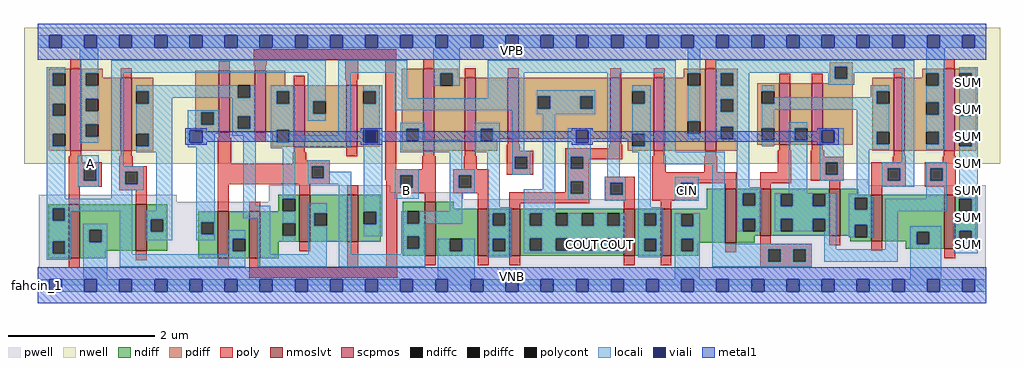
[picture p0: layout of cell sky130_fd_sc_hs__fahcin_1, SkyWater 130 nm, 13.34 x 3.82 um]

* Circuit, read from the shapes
.subckt sky130_fd_sc_hs__fahcin_1 A B CIN VGND VNB VPB VPWR COUT SUM
XM1 VGND A n1 VNB sky130_fd_pr__nfet_01v8_lvt w=0.74 l=0.15
XM2 n2 n1 VGND VNB sky130_fd_pr__nfet_01v8_lvt w=0.64 l=0.15
XM3 n1 n3 n4 VNB sky130_fd_pr__nfet_01v8_lvt w=0.64 l=0.15
XM4 n5 B n1 VNB sky130_fd_pr__nfet_01v8_lvt w=0.64 l=0.15
XM5 n2 n3 n5 VNB sky130_fd_pr__nfet_01v8_lvt w=0.64 l=0.15
XM6 n4 B n2 VNB sky130_fd_pr__nfet_01v8_lvt w=0.64 l=0.15
XM7 VGND B n3 VNB sky130_fd_pr__nfet_01v8_lvt w=0.74 l=0.15
XM8 n6 n3 VGND VNB sky130_fd_pr__nfet_01v8_lvt w=0.64 l=0.15
XM9 COUT n4 n6 VNB sky130_fd_pr__nfet_01v8_lvt w=0.64 l=0.15
XM10 n7 n5 COUT VNB sky130_fd_pr__nfet_01v8_lvt w=0.64 l=0.15
XM11 VGND CIN n7 VNB sky130_fd_pr__nfet_01v8_lvt w=0.64 l=0.15
XM12 n8 CIN VGND VNB sky130_fd_pr__nfet_01v8_lvt w=0.74 l=0.15
XM13 n9 n5 n8 VNB sky130_fd_pr__nfet_01v8_lvt w=0.64 l=0.15
XM14 n10 n4 n9 VNB sky130_fd_pr__nfet_01v8_lvt w=0.64 l=0.15
XM15 VGND n8 n10 VNB sky130_fd_pr__nfet_01v8_lvt w=0.64 l=0.15
XM16 SUM n9 VGND VNB sky130_fd_pr__nfet_01v8_lvt w=0.74 l=0.15
XM17 VPWR A n1 VPB sky130_fd_pr__pfet_01v8 w=1.12 l=0.15
XM18 n2 n1 VPWR VPB sky130_fd_pr__pfet_01v8 w=1 l=0.15
XM19 n2 n3 n4 VPB sky130_fd_pr__pfet_01v8 w=0.84 l=0.15
XM20 n5 B n2 VPB sky130_fd_pr__pfet_01v8 w=0.84 l=0.15
XM21 n1 n3 n5 VPB sky130_fd_pr__pfet_01v8 w=0.84 l=0.15
XM22 n4 B n1 VPB sky130_fd_pr__pfet_01v8 w=0.84 l=0.15
XM23 VPWR B n3 VPB sky130_fd_pr__pfet_01v8 w=1.12 l=0.15
XM24 n6 n3 VPWR VPB sky130_fd_pr__pfet_01v8 w=1 l=0.15
XM25 COUT n5 n6 VPB sky130_fd_pr__pfet_01v8 w=0.84 l=0.15
XM26 n7 n4 COUT VPB sky130_fd_pr__pfet_01v8 w=0.84 l=0.15
XM27 VPWR CIN n7 VPB sky130_fd_pr__pfet_01v8 w=1 l=0.15
XM28 n8 CIN VPWR VPB sky130_fd_pr__pfet_01v8 w=1.12 l=0.15
XM29 n9 n5 n10 VPB sky130_fd_pr__pfet_01v8 w=0.84 l=0.15
XM30 n8 n4 n9 VPB sky130_fd_pr__pfet_01v8 w=0.84 l=0.15
XM31 VPWR n8 n10 VPB sky130_fd_pr__pfet_01v8 w=1 l=0.15
XM32 SUM n9 VPWR VPB sky130_fd_pr__pfet_01v8 w=1.12 l=0.15
.ends

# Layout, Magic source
magic
tech sky130A
magscale 1 2
<< nwell >>
rect -38 332 2630 704
<< pwell >>
rect 1803 274 2269 290
rect 631 255 963 273
rect 2 228 380 248
rect 631 235 1163 255
rect 1803 235 2591 274
rect 631 228 2591 235
rect 2 49 2591 228
rect 0 0 2592 49
<< scpmos >>
rect 88 368 118 592
rect 226 368 256 568
rect 495 418 525 586
rect 593 418 623 586
rect 700 379 730 547
rect 843 379 873 547
rect 1054 368 1084 592
rect 1167 368 1197 568
rect 1284 400 1314 568
rect 1565 400 1595 568
rect 1683 368 1713 568
rect 1824 368 1854 592
rect 2026 384 2056 552
rect 2116 384 2146 552
rect 2340 368 2370 568
rect 2476 368 2506 592
<< nmoslvt >>
rect 85 74 115 222
rect 267 94 297 222
rect 492 74 522 202
rect 578 74 608 202
rect 714 119 744 247
rect 846 119 876 247
rect 1057 81 1087 229
rect 1203 81 1233 209
rect 1289 81 1319 209
rect 1602 81 1632 209
rect 1702 81 1732 209
rect 1879 116 1909 264
rect 1974 136 2004 264
rect 2163 136 2193 264
rect 2278 120 2308 248
rect 2478 100 2508 248
<< ndiff >>
rect 28 210 85 222
rect 28 176 40 210
rect 74 176 85 210
rect 28 120 85 176
rect 28 86 40 120
rect 74 86 85 120
rect 28 74 85 86
rect 115 152 267 222
rect 115 118 140 152
rect 174 118 267 152
rect 115 94 267 118
rect 297 180 354 222
rect 657 237 714 247
rect 657 203 669 237
rect 703 203 714 237
rect 657 202 714 203
rect 297 146 308 180
rect 342 146 354 180
rect 297 94 354 146
rect 439 173 492 202
rect 439 139 447 173
rect 481 139 492 173
rect 115 74 186 94
rect 439 74 492 139
rect 522 127 578 202
rect 522 93 533 127
rect 567 93 578 127
rect 522 74 578 93
rect 608 169 714 202
rect 608 135 669 169
rect 703 135 714 169
rect 608 119 714 135
rect 744 197 846 247
rect 744 163 755 197
rect 789 163 846 197
rect 744 119 846 163
rect 876 201 937 247
rect 876 167 891 201
rect 925 167 937 201
rect 876 119 937 167
rect 608 74 658 119
rect 997 202 1057 229
rect 997 168 1009 202
rect 1043 168 1057 202
rect 997 134 1057 168
rect 997 100 1009 134
rect 1043 100 1057 134
rect 997 81 1057 100
rect 1087 209 1137 229
rect 1829 209 1879 264
rect 1087 127 1203 209
rect 1087 93 1126 127
rect 1160 93 1203 127
rect 1087 81 1203 93
rect 1233 197 1289 209
rect 1233 163 1244 197
rect 1278 163 1289 197
rect 1233 127 1289 163
rect 1233 93 1244 127
rect 1278 93 1289 127
rect 1233 81 1289 93
rect 1319 197 1602 209
rect 1319 163 1344 197
rect 1378 163 1415 197
rect 1449 163 1486 197
rect 1520 163 1557 197
rect 1591 163 1602 197
rect 1319 129 1602 163
rect 1319 95 1344 129
rect 1378 95 1415 129
rect 1449 95 1486 129
rect 1520 95 1557 129
rect 1591 95 1602 129
rect 1319 81 1602 95
rect 1632 197 1702 209
rect 1632 163 1657 197
rect 1691 163 1702 197
rect 1632 127 1702 163
rect 1632 93 1657 127
rect 1691 93 1702 127
rect 1632 81 1702 93
rect 1732 195 1879 209
rect 1732 161 1758 195
rect 1792 161 1879 195
rect 1732 127 1879 161
rect 1732 93 1758 127
rect 1792 116 1879 127
rect 1909 252 1974 264
rect 1909 218 1927 252
rect 1961 218 1974 252
rect 1909 182 1974 218
rect 1909 148 1927 182
rect 1961 148 1974 182
rect 1909 136 1974 148
rect 2004 250 2163 264
rect 2004 216 2030 250
rect 2064 216 2118 250
rect 2152 216 2163 250
rect 2004 182 2163 216
rect 2004 148 2030 182
rect 2064 148 2118 182
rect 2152 148 2163 182
rect 2004 136 2163 148
rect 2193 248 2243 264
rect 2193 240 2278 248
rect 2193 206 2233 240
rect 2267 206 2278 240
rect 2193 166 2278 206
rect 2193 136 2233 166
rect 1909 116 1959 136
rect 1792 93 1805 116
rect 1732 81 1805 93
rect 2221 132 2233 136
rect 2267 132 2278 166
rect 2221 120 2278 132
rect 2308 146 2478 248
rect 2308 120 2402 146
rect 2373 112 2402 120
rect 2436 112 2478 146
rect 2373 100 2478 112
rect 2508 236 2565 248
rect 2508 202 2519 236
rect 2553 202 2565 236
rect 2508 149 2565 202
rect 2508 115 2519 149
rect 2553 115 2565 149
rect 2508 100 2565 115
<< pdiff >>
rect 29 580 88 592
rect 29 546 41 580
rect 75 546 88 580
rect 29 497 88 546
rect 29 463 41 497
rect 75 463 88 497
rect 29 414 88 463
rect 29 380 41 414
rect 75 380 88 414
rect 29 368 88 380
rect 118 580 177 592
rect 118 546 131 580
rect 165 568 177 580
rect 165 546 226 568
rect 118 510 226 546
rect 118 476 131 510
rect 165 476 226 510
rect 118 440 226 476
rect 118 406 131 440
rect 165 406 226 440
rect 118 368 226 406
rect 256 531 315 568
rect 256 497 269 531
rect 303 497 315 531
rect 256 414 315 497
rect 430 473 495 586
rect 430 439 447 473
rect 481 439 495 473
rect 430 418 495 439
rect 525 547 593 586
rect 525 513 546 547
rect 580 513 593 547
rect 525 462 593 513
rect 525 428 546 462
rect 580 428 593 462
rect 525 418 593 428
rect 623 547 676 586
rect 623 531 700 547
rect 623 497 653 531
rect 687 497 700 531
rect 623 425 700 497
rect 623 418 653 425
rect 256 380 269 414
rect 303 380 315 414
rect 256 368 315 380
rect 641 391 653 418
rect 687 391 700 425
rect 641 379 700 391
rect 730 503 843 547
rect 730 469 753 503
rect 787 469 843 503
rect 730 379 843 469
rect 873 531 935 547
rect 873 497 889 531
rect 923 497 935 531
rect 873 425 935 497
rect 873 391 889 425
rect 923 391 935 425
rect 873 379 935 391
rect 995 428 1054 592
rect 995 394 1007 428
rect 1041 394 1054 428
rect 995 368 1054 394
rect 1084 580 1149 592
rect 1084 546 1100 580
rect 1134 568 1149 580
rect 2164 598 2227 610
rect 1765 580 1824 592
rect 1765 568 1777 580
rect 1134 546 1167 568
rect 1084 368 1167 546
rect 1197 428 1284 568
rect 1197 394 1210 428
rect 1244 400 1284 428
rect 1314 517 1565 568
rect 1314 483 1367 517
rect 1401 483 1483 517
rect 1517 483 1565 517
rect 1314 400 1565 483
rect 1595 531 1683 568
rect 1595 497 1625 531
rect 1659 497 1683 531
rect 1595 414 1683 497
rect 1595 400 1625 414
rect 1244 394 1256 400
rect 1197 368 1256 394
rect 1613 380 1625 400
rect 1659 380 1683 414
rect 1613 368 1683 380
rect 1713 546 1777 568
rect 1811 546 1824 580
rect 1713 449 1824 546
rect 1713 415 1777 449
rect 1811 415 1824 449
rect 1713 368 1824 415
rect 1854 580 1913 592
rect 1854 546 1867 580
rect 1901 546 1913 580
rect 2164 564 2178 598
rect 2212 564 2227 598
rect 2417 580 2476 592
rect 2417 568 2429 580
rect 2164 552 2227 564
rect 1854 508 1913 546
rect 1854 474 1867 508
rect 1901 474 1913 508
rect 1854 433 1913 474
rect 1854 399 1867 433
rect 1901 399 1913 433
rect 1854 368 1913 399
rect 1967 531 2026 552
rect 1967 497 1979 531
rect 2013 497 2026 531
rect 1967 430 2026 497
rect 1967 396 1979 430
rect 2013 396 2026 430
rect 1967 384 2026 396
rect 2056 430 2116 552
rect 2056 396 2069 430
rect 2103 396 2116 430
rect 2056 384 2116 396
rect 2146 384 2227 552
rect 2281 531 2340 568
rect 2281 497 2293 531
rect 2327 497 2340 531
rect 2281 420 2340 497
rect 2281 386 2293 420
rect 2327 386 2340 420
rect 2281 368 2340 386
rect 2370 546 2429 568
rect 2463 546 2476 580
rect 2370 500 2476 546
rect 2370 466 2429 500
rect 2463 466 2476 500
rect 2370 420 2476 466
rect 2370 386 2429 420
rect 2463 386 2476 420
rect 2370 368 2476 386
rect 2506 580 2565 592
rect 2506 546 2519 580
rect 2553 546 2565 580
rect 2506 497 2565 546
rect 2506 463 2519 497
rect 2553 463 2565 497
rect 2506 414 2565 463
rect 2506 380 2519 414
rect 2553 380 2565 414
rect 2506 368 2565 380
<< ndiffc >>
rect 40 176 74 210
rect 40 86 74 120
rect 140 118 174 152
rect 669 203 703 237
rect 308 146 342 180
rect 447 139 481 173
rect 533 93 567 127
rect 669 135 703 169
rect 755 163 789 197
rect 891 167 925 201
rect 1009 168 1043 202
rect 1009 100 1043 134
rect 1126 93 1160 127
rect 1244 163 1278 197
rect 1244 93 1278 127
rect 1344 163 1378 197
rect 1415 163 1449 197
rect 1486 163 1520 197
rect 1557 163 1591 197
rect 1344 95 1378 129
rect 1415 95 1449 129
rect 1486 95 1520 129
rect 1557 95 1591 129
rect 1657 163 1691 197
rect 1657 93 1691 127
rect 1758 161 1792 195
rect 1758 93 1792 127
rect 1927 218 1961 252
rect 1927 148 1961 182
rect 2030 216 2064 250
rect 2118 216 2152 250
rect 2030 148 2064 182
rect 2118 148 2152 182
rect 2233 206 2267 240
rect 2233 132 2267 166
rect 2402 112 2436 146
rect 2519 202 2553 236
rect 2519 115 2553 149
<< pdiffc >>
rect 41 546 75 580
rect 41 463 75 497
rect 41 380 75 414
rect 131 546 165 580
rect 131 476 165 510
rect 131 406 165 440
rect 269 497 303 531
rect 447 439 481 473
rect 546 513 580 547
rect 546 428 580 462
rect 653 497 687 531
rect 269 380 303 414
rect 653 391 687 425
rect 753 469 787 503
rect 889 497 923 531
rect 889 391 923 425
rect 1007 394 1041 428
rect 1100 546 1134 580
rect 1210 394 1244 428
rect 1367 483 1401 517
rect 1483 483 1517 517
rect 1625 497 1659 531
rect 1625 380 1659 414
rect 1777 546 1811 580
rect 1777 415 1811 449
rect 1867 546 1901 580
rect 2178 564 2212 598
rect 1867 474 1901 508
rect 1867 399 1901 433
rect 1979 497 2013 531
rect 1979 396 2013 430
rect 2069 396 2103 430
rect 2293 497 2327 531
rect 2293 386 2327 420
rect 2429 546 2463 580
rect 2429 466 2463 500
rect 2429 386 2463 420
rect 2519 546 2553 580
rect 2519 463 2553 497
rect 2519 380 2553 414
<< poly >>
rect 88 592 118 618
rect 590 615 980 645
rect 226 568 256 594
rect 495 586 525 612
rect 590 601 626 615
rect 593 586 623 601
rect 700 547 730 573
rect 840 562 876 615
rect 843 547 873 562
rect 495 403 525 418
rect 88 353 118 368
rect 226 353 256 368
rect 85 336 121 353
rect 85 320 175 336
rect 85 286 125 320
rect 159 286 175 320
rect 85 270 175 286
rect 223 326 259 353
rect 492 333 528 403
rect 593 392 623 418
rect 700 364 730 379
rect 697 342 733 364
rect 843 353 873 379
rect 697 333 798 342
rect 492 326 798 333
rect 223 310 297 326
rect 223 276 239 310
rect 273 276 297 310
rect 85 222 115 270
rect 223 260 297 276
rect 267 222 297 260
rect 492 292 748 326
rect 782 292 798 326
rect 492 276 798 292
rect 950 317 980 615
rect 1054 592 1084 618
rect 1167 568 1197 594
rect 1284 568 1314 594
rect 1565 568 1595 594
rect 1683 568 1713 594
rect 1824 592 1854 618
rect 1284 385 1314 400
rect 1565 385 1595 400
rect 1281 368 1317 385
rect 1562 375 1598 385
rect 1054 353 1084 368
rect 1167 353 1197 368
rect 1051 317 1087 353
rect 1164 317 1200 353
rect 1281 352 1354 368
rect 1281 318 1304 352
rect 1338 318 1354 352
rect 950 301 1087 317
rect 950 287 991 301
rect 492 202 522 276
rect 714 247 744 276
rect 846 247 876 273
rect 952 267 991 287
rect 1025 267 1087 301
rect 952 251 1087 267
rect 1135 301 1233 317
rect 1281 302 1354 318
rect 1441 352 1598 375
rect 2026 552 2056 578
rect 2116 552 2146 578
rect 2340 568 2370 594
rect 2476 592 2506 618
rect 2026 369 2056 384
rect 2116 369 2146 384
rect 1683 353 1713 368
rect 1824 353 1854 368
rect 1441 318 1457 352
rect 1491 345 1598 352
rect 1491 318 1507 345
rect 1135 267 1151 301
rect 1185 267 1233 301
rect 1135 251 1233 267
rect 1441 284 1507 318
rect 1680 309 1716 353
rect 1821 309 1857 353
rect 2023 309 2059 369
rect 1441 254 1457 284
rect 578 202 608 228
rect 85 48 115 74
rect 267 68 297 94
rect 714 93 744 119
rect 492 48 522 74
rect 578 51 608 74
rect 846 51 876 119
rect 952 51 982 251
rect 1057 229 1087 251
rect 1203 209 1233 251
rect 1289 250 1457 254
rect 1491 250 1507 284
rect 1289 224 1507 250
rect 1549 281 1632 297
rect 1549 247 1565 281
rect 1599 247 1632 281
rect 1549 231 1632 247
rect 1680 281 1909 309
rect 1680 247 1757 281
rect 1791 279 1909 281
rect 1791 247 1807 279
rect 1879 264 1909 279
rect 1974 279 2059 309
rect 2113 352 2149 369
rect 2340 353 2370 368
rect 2476 353 2506 368
rect 2113 336 2203 352
rect 2337 336 2373 353
rect 2473 336 2509 353
rect 2113 302 2153 336
rect 2187 302 2203 336
rect 2113 286 2203 302
rect 2278 320 2373 336
rect 2278 286 2323 320
rect 2357 286 2373 320
rect 1974 264 2004 279
rect 2163 264 2193 286
rect 2278 270 2373 286
rect 2424 320 2509 336
rect 2424 286 2440 320
rect 2474 286 2509 320
rect 2424 270 2509 286
rect 1680 231 1807 247
rect 1289 209 1319 224
rect 1602 209 1632 231
rect 1702 209 1732 231
rect 2278 248 2308 270
rect 2478 248 2508 270
rect 1879 90 1909 116
rect 1974 114 2004 136
rect 1974 98 2115 114
rect 2163 110 2193 136
rect 1057 55 1087 81
rect 1203 55 1233 81
rect 1289 55 1319 81
rect 1602 55 1632 81
rect 1702 55 1732 81
rect 1974 64 1997 98
rect 2031 64 2065 98
rect 2099 64 2115 98
rect 2278 94 2308 120
rect 2478 74 2508 100
rect 578 21 982 51
rect 1974 48 2115 64
<< polycont >>
rect 125 286 159 320
rect 239 276 273 310
rect 748 292 782 326
rect 1304 318 1338 352
rect 991 267 1025 301
rect 1457 318 1491 352
rect 1151 267 1185 301
rect 1457 250 1491 284
rect 1565 247 1599 281
rect 1757 247 1791 281
rect 2153 302 2187 336
rect 2323 286 2357 320
rect 2440 286 2474 320
rect 1997 64 2031 98
rect 2065 64 2099 98
<< locali >>
rect 0 649 31 683
rect 65 649 127 683
rect 161 649 223 683
rect 257 649 319 683
rect 353 649 415 683
rect 449 649 511 683
rect 545 649 607 683
rect 641 649 703 683
rect 737 649 799 683
rect 833 649 895 683
rect 929 649 991 683
rect 1025 649 1087 683
rect 1121 649 1183 683
rect 1217 649 1279 683
rect 1313 649 1375 683
rect 1409 649 1471 683
rect 1505 649 1567 683
rect 1601 649 1663 683
rect 1697 649 1759 683
rect 1793 649 1855 683
rect 1889 649 1951 683
rect 1985 649 2047 683
rect 2081 649 2143 683
rect 2177 649 2239 683
rect 2273 649 2335 683
rect 2369 649 2431 683
rect 2465 649 2527 683
rect 2561 649 2592 683
rect 24 580 75 596
rect 24 546 41 580
rect 24 497 75 546
rect 24 463 41 497
rect 24 414 75 463
rect 24 380 41 414
rect 115 580 165 649
rect 115 546 131 580
rect 115 510 165 546
rect 115 476 131 510
rect 115 440 165 476
rect 115 406 131 440
rect 115 390 165 406
rect 201 581 787 615
rect 24 236 75 380
rect 109 320 167 356
rect 109 286 125 320
rect 159 286 167 320
rect 109 270 167 286
rect 201 326 235 581
rect 269 531 546 547
rect 303 513 546 531
rect 580 513 596 547
rect 303 497 367 513
rect 269 414 367 497
rect 303 380 367 414
rect 269 364 367 380
rect 409 473 497 479
rect 409 439 447 473
rect 481 439 497 473
rect 409 424 497 439
rect 409 390 415 424
rect 449 414 497 424
rect 531 462 596 513
rect 531 428 546 462
rect 580 428 596 462
rect 449 390 483 414
rect 531 409 596 428
rect 409 378 483 390
rect 201 310 289 326
rect 201 276 239 310
rect 273 276 289 310
rect 201 260 289 276
rect 201 236 258 260
rect 24 210 258 236
rect 24 176 40 210
rect 74 202 258 210
rect 323 204 367 364
rect 74 176 90 202
rect 24 120 90 176
rect 24 86 40 120
rect 74 86 90 120
rect 24 70 90 86
rect 124 152 190 168
rect 124 118 140 152
rect 174 118 190 152
rect 124 17 190 118
rect 224 85 258 202
rect 295 180 367 204
rect 295 146 308 180
rect 342 146 367 180
rect 295 123 367 146
rect 433 173 483 378
rect 562 218 596 409
rect 637 531 703 547
rect 637 497 653 531
rect 687 497 703 531
rect 637 425 703 497
rect 737 503 787 581
rect 737 469 753 503
rect 737 450 787 469
rect 821 581 1009 615
rect 637 391 653 425
rect 687 410 703 425
rect 821 410 855 581
rect 687 391 855 410
rect 637 376 855 391
rect 889 531 941 547
rect 923 497 941 531
rect 889 425 941 497
rect 975 512 1009 581
rect 1081 580 1153 649
rect 1081 546 1100 580
rect 1134 546 1153 580
rect 1230 581 1743 615
rect 1230 512 1330 581
rect 975 478 1330 512
rect 923 424 941 425
rect 889 390 895 391
rect 929 390 941 424
rect 637 375 703 376
rect 889 375 941 390
rect 669 237 703 375
rect 737 326 798 342
rect 737 292 748 326
rect 782 310 798 326
rect 782 292 857 310
rect 737 276 857 292
rect 562 184 635 218
rect 433 139 447 173
rect 481 139 483 173
rect 433 123 483 139
rect 517 127 567 150
rect 517 93 533 127
rect 517 85 567 93
rect 224 51 567 85
rect 601 85 635 184
rect 669 169 703 203
rect 669 119 703 135
rect 739 197 789 225
rect 739 163 755 197
rect 739 85 789 163
rect 601 51 789 85
rect 823 85 857 276
rect 891 201 941 375
rect 991 428 1057 444
rect 991 394 1007 428
rect 1041 398 1057 428
rect 1194 428 1262 444
rect 1041 394 1160 398
rect 991 364 1160 394
rect 1194 394 1210 428
rect 1244 394 1262 428
rect 1194 364 1262 394
rect 1126 317 1160 364
rect 975 301 1041 317
rect 975 267 991 301
rect 1025 267 1041 301
rect 975 236 1041 267
rect 1126 301 1194 317
rect 1126 267 1151 301
rect 1185 267 1194 301
rect 1126 251 1194 267
rect 1126 202 1160 251
rect 925 167 941 201
rect 891 134 941 167
rect 993 168 1009 202
rect 1043 168 1160 202
rect 1228 213 1262 364
rect 1296 368 1330 478
rect 1364 517 1523 533
rect 1364 483 1367 517
rect 1401 483 1483 517
rect 1517 483 1523 517
rect 1364 467 1523 483
rect 1296 352 1346 368
rect 1296 318 1304 352
rect 1338 318 1346 352
rect 1296 302 1346 318
rect 1380 262 1414 467
rect 1228 197 1294 213
rect 993 134 1059 168
rect 993 100 1009 134
rect 1043 100 1059 134
rect 1228 163 1244 197
rect 1278 163 1294 197
rect 1228 127 1294 163
rect 993 85 1059 100
rect 823 51 1059 85
rect 1093 93 1126 127
rect 1160 93 1194 127
rect 1093 17 1194 93
rect 1228 93 1244 127
rect 1278 93 1294 127
rect 1228 77 1294 93
rect 1328 197 1414 262
rect 1448 424 1511 430
rect 1448 390 1471 424
rect 1505 390 1511 424
rect 1448 352 1511 390
rect 1448 318 1457 352
rect 1491 318 1511 352
rect 1448 284 1511 318
rect 1557 297 1591 581
rect 1625 531 1675 547
rect 1659 497 1675 531
rect 1625 414 1675 497
rect 1659 380 1675 414
rect 1625 364 1675 380
rect 1448 250 1457 284
rect 1491 250 1511 284
rect 1448 234 1511 250
rect 1549 281 1607 297
rect 1549 247 1565 281
rect 1599 247 1607 281
rect 1549 231 1607 247
rect 1641 213 1675 364
rect 1709 365 1743 581
rect 1777 580 1811 649
rect 1777 449 1811 546
rect 1777 399 1811 415
rect 1851 598 2395 615
rect 1851 581 2178 598
rect 1851 580 1945 581
rect 1851 546 1867 580
rect 1901 546 1945 580
rect 2160 564 2178 581
rect 2212 581 2395 598
rect 2212 564 2231 581
rect 2160 548 2231 564
rect 1851 508 1945 546
rect 1851 474 1867 508
rect 1901 474 1945 508
rect 1851 433 1945 474
rect 1851 399 1867 433
rect 1901 399 1945 433
rect 1709 331 1877 365
rect 1741 281 1807 297
rect 1741 247 1757 281
rect 1791 247 1807 281
rect 1741 231 1807 247
rect 1641 197 1707 213
rect 1328 163 1344 197
rect 1378 163 1415 197
rect 1449 163 1486 197
rect 1520 163 1557 197
rect 1591 163 1607 197
rect 1328 129 1607 163
rect 1328 95 1344 129
rect 1378 95 1415 129
rect 1449 95 1486 129
rect 1520 95 1557 129
rect 1591 95 1607 129
rect 1328 88 1607 95
rect 1641 163 1657 197
rect 1691 163 1707 197
rect 1641 127 1707 163
rect 1641 93 1657 127
rect 1691 93 1707 127
rect 1641 77 1707 93
rect 1741 195 1809 197
rect 1741 161 1758 195
rect 1792 161 1809 195
rect 1741 127 1809 161
rect 1741 93 1758 127
rect 1792 93 1809 127
rect 1741 17 1809 93
rect 1843 114 1877 331
rect 1911 268 1945 399
rect 1979 531 2013 547
rect 2277 531 2327 547
rect 2277 514 2293 531
rect 2013 497 2293 514
rect 1979 480 2327 497
rect 1979 430 2013 480
rect 1979 380 2013 396
rect 2053 430 2103 446
rect 2053 396 2069 430
rect 1911 252 1977 268
rect 2053 252 2103 396
rect 2137 424 2203 430
rect 2137 390 2143 424
rect 2177 390 2203 424
rect 2137 336 2203 390
rect 2137 302 2153 336
rect 2187 302 2203 336
rect 2137 286 2203 302
rect 2239 420 2327 480
rect 2239 386 2293 420
rect 2239 370 2327 386
rect 1911 218 1927 252
rect 1961 218 1977 252
rect 1911 182 1977 218
rect 1911 148 1927 182
rect 1961 148 1977 182
rect 2014 250 2183 252
rect 2239 250 2273 370
rect 2361 336 2395 581
rect 2429 580 2479 649
rect 2463 546 2479 580
rect 2429 500 2479 546
rect 2463 466 2479 500
rect 2429 420 2479 466
rect 2463 386 2479 420
rect 2429 370 2479 386
rect 2519 580 2569 596
rect 2553 546 2569 580
rect 2519 497 2569 546
rect 2553 463 2569 497
rect 2519 414 2569 463
rect 2553 380 2569 414
rect 2307 320 2395 336
rect 2307 286 2323 320
rect 2357 286 2395 320
rect 2307 270 2395 286
rect 2429 320 2485 336
rect 2429 286 2440 320
rect 2474 286 2485 320
rect 2014 216 2030 250
rect 2064 216 2118 250
rect 2152 216 2183 250
rect 2014 182 2183 216
rect 2014 148 2030 182
rect 2064 148 2118 182
rect 2152 148 2183 182
rect 1843 98 2115 114
rect 1843 64 1997 98
rect 2031 64 2065 98
rect 2099 64 2115 98
rect 2149 98 2183 148
rect 2217 244 2273 250
rect 2217 240 2283 244
rect 2217 206 2233 240
rect 2267 206 2283 240
rect 2429 236 2485 286
rect 2217 166 2283 206
rect 2217 132 2233 166
rect 2267 132 2283 166
rect 2317 202 2485 236
rect 2519 236 2569 380
rect 2553 202 2569 236
rect 2317 98 2351 202
rect 2519 168 2569 202
rect 2149 64 2351 98
rect 2385 146 2469 162
rect 2385 112 2402 146
rect 2436 112 2469 146
rect 1843 51 2115 64
rect 2385 17 2469 112
rect 2503 149 2569 168
rect 2503 115 2519 149
rect 2553 115 2569 149
rect 2503 88 2569 115
rect 0 -17 31 17
rect 65 -17 127 17
rect 161 -17 223 17
rect 257 -17 319 17
rect 353 -17 415 17
rect 449 -17 511 17
rect 545 -17 607 17
rect 641 -17 703 17
rect 737 -17 799 17
rect 833 -17 895 17
rect 929 -17 991 17
rect 1025 -17 1087 17
rect 1121 -17 1183 17
rect 1217 -17 1279 17
rect 1313 -17 1375 17
rect 1409 -17 1471 17
rect 1505 -17 1567 17
rect 1601 -17 1663 17
rect 1697 -17 1759 17
rect 1793 -17 1855 17
rect 1889 -17 1951 17
rect 1985 -17 2047 17
rect 2081 -17 2143 17
rect 2177 -17 2239 17
rect 2273 -17 2335 17
rect 2369 -17 2431 17
rect 2465 -17 2527 17
rect 2561 -17 2592 17
<< viali >>
rect 31 649 65 683
rect 127 649 161 683
rect 223 649 257 683
rect 319 649 353 683
rect 415 649 449 683
rect 511 649 545 683
rect 607 649 641 683
rect 703 649 737 683
rect 799 649 833 683
rect 895 649 929 683
rect 991 649 1025 683
rect 1087 649 1121 683
rect 1183 649 1217 683
rect 1279 649 1313 683
rect 1375 649 1409 683
rect 1471 649 1505 683
rect 1567 649 1601 683
rect 1663 649 1697 683
rect 1759 649 1793 683
rect 1855 649 1889 683
rect 1951 649 1985 683
rect 2047 649 2081 683
rect 2143 649 2177 683
rect 2239 649 2273 683
rect 2335 649 2369 683
rect 2431 649 2465 683
rect 2527 649 2561 683
rect 415 390 449 424
rect 895 391 923 424
rect 923 391 929 424
rect 895 390 929 391
rect 1471 390 1505 424
rect 2143 390 2177 424
rect 31 -17 65 17
rect 127 -17 161 17
rect 223 -17 257 17
rect 319 -17 353 17
rect 415 -17 449 17
rect 511 -17 545 17
rect 607 -17 641 17
rect 703 -17 737 17
rect 799 -17 833 17
rect 895 -17 929 17
rect 991 -17 1025 17
rect 1087 -17 1121 17
rect 1183 -17 1217 17
rect 1279 -17 1313 17
rect 1375 -17 1409 17
rect 1471 -17 1505 17
rect 1567 -17 1601 17
rect 1663 -17 1697 17
rect 1759 -17 1793 17
rect 1855 -17 1889 17
rect 1951 -17 1985 17
rect 2047 -17 2081 17
rect 2143 -17 2177 17
rect 2239 -17 2273 17
rect 2335 -17 2369 17
rect 2431 -17 2465 17
rect 2527 -17 2561 17
<< metal1 >>
rect 0 683 2592 715
rect 0 649 31 683
rect 65 649 127 683
rect 161 649 223 683
rect 257 649 319 683
rect 353 649 415 683
rect 449 649 511 683
rect 545 649 607 683
rect 641 649 703 683
rect 737 649 799 683
rect 833 649 895 683
rect 929 649 991 683
rect 1025 649 1087 683
rect 1121 649 1183 683
rect 1217 649 1279 683
rect 1313 649 1375 683
rect 1409 649 1471 683
rect 1505 649 1567 683
rect 1601 649 1663 683
rect 1697 649 1759 683
rect 1793 649 1855 683
rect 1889 649 1951 683
rect 1985 649 2047 683
rect 2081 649 2143 683
rect 2177 649 2239 683
rect 2273 649 2335 683
rect 2369 649 2431 683
rect 2465 649 2527 683
rect 2561 649 2592 683
rect 0 617 2592 649
rect 403 424 461 430
rect 403 390 415 424
rect 449 421 461 424
rect 883 424 941 430
rect 883 421 895 424
rect 449 393 895 421
rect 449 390 461 393
rect 403 384 461 390
rect 883 390 895 393
rect 929 421 941 424
rect 1459 424 1517 430
rect 1459 421 1471 424
rect 929 393 1471 421
rect 929 390 941 393
rect 883 384 941 390
rect 1459 390 1471 393
rect 1505 421 1517 424
rect 2131 424 2189 430
rect 2131 421 2143 424
rect 1505 393 2143 421
rect 1505 390 1517 393
rect 1459 384 1517 390
rect 2131 390 2143 393
rect 2177 390 2189 424
rect 2131 384 2189 390
rect 0 17 2592 49
rect 0 -17 31 17
rect 65 -17 127 17
rect 161 -17 223 17
rect 257 -17 319 17
rect 353 -17 415 17
rect 449 -17 511 17
rect 545 -17 607 17
rect 641 -17 703 17
rect 737 -17 799 17
rect 833 -17 895 17
rect 929 -17 991 17
rect 1025 -17 1087 17
rect 1121 -17 1183 17
rect 1217 -17 1279 17
rect 1313 -17 1375 17
rect 1409 -17 1471 17
rect 1505 -17 1567 17
rect 1601 -17 1663 17
rect 1697 -17 1759 17
rect 1793 -17 1855 17
rect 1889 -17 1951 17
rect 1985 -17 2047 17
rect 2081 -17 2143 17
rect 2177 -17 2239 17
rect 2273 -17 2335 17
rect 2369 -17 2431 17
rect 2465 -17 2527 17
rect 2561 -17 2592 17
rect 0 -49 2592 -17
<< labels >>
rlabel comment s 0 0 0 0 4 fahcin_1
flabel pwell s 0 0 2592 49 0 FreeSans 200 0 0 0 VNB
port 5 nsew ground bidirectional
flabel nwell s 0 617 2592 666 0 FreeSans 200 0 0 0 VPB
port 6 nsew power bidirectional
flabel metal1 s 0 617 2592 666 0 FreeSans 340 0 0 0 VPWR
port 7 nsew power bidirectional
flabel metal1 s 0 0 2592 49 0 FreeSans 340 0 0 0 VGND
port 4 nsew ground bidirectional
flabel locali s 1471 94 1505 128 0 FreeSans 340 0 0 0 COUT
port 8 nsew signal output
flabel locali s 1567 94 1601 128 0 FreeSans 340 0 0 0 COUT
port 8 nsew signal output
flabel locali s 991 242 1025 276 0 FreeSans 340 0 0 0 B
port 2 nsew signal input
flabel locali s 127 316 161 350 0 FreeSans 340 0 0 0 A
port 1 nsew signal input
flabel locali s 1759 242 1793 276 0 FreeSans 340 0 0 0 CIN
port 3 nsew signal input
flabel locali s 2527 94 2561 128 0 FreeSans 340 0 0 0 SUM
port 9 nsew signal output
flabel locali s 2527 168 2561 202 0 FreeSans 340 0 0 0 SUM
port 9 nsew signal output
flabel locali s 2527 242 2561 276 0 FreeSans 340 0 0 0 SUM
port 9 nsew signal output
flabel locali s 2527 316 2561 350 0 FreeSans 340 0 0 0 SUM
port 9 nsew signal output
flabel locali s 2527 390 2561 424 0 FreeSans 340 0 0 0 SUM
port 9 nsew signal output
flabel locali s 2527 464 2561 498 0 FreeSans 340 0 0 0 SUM
port 9 nsew signal output
flabel locali s 2527 538 2561 572 0 FreeSans 340 0 0 0 SUM
port 9 nsew signal output
<< properties >>
string LEFsite unit
string LEFclass CORE
string FIXED_BBOX 0 0 2592 666
string GDS_FILE $PDKPATH/libs.ref/sky130_fd_sc_hs/gds/sky130_fd_sc_hs.gds
string LEFsymmetry X Y
string GDS_END 3785186
string GDS_START 3766056
<< end >>
